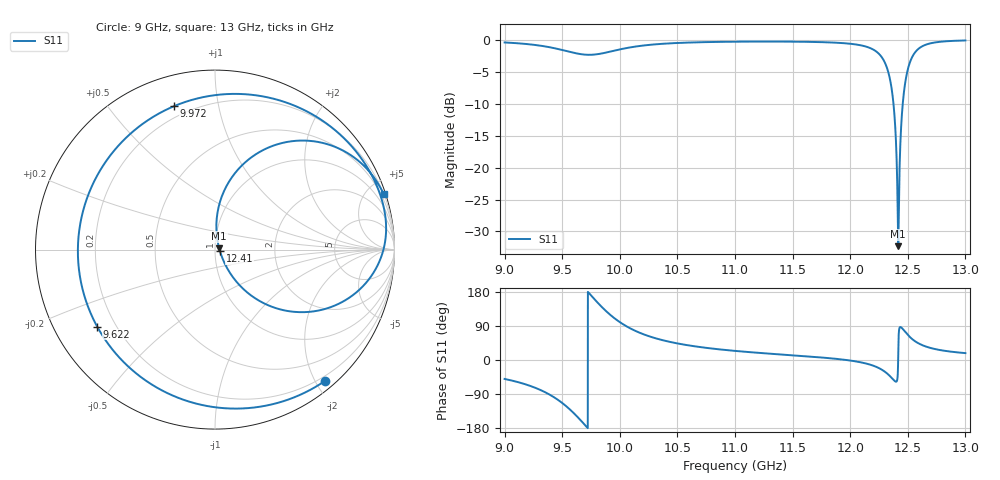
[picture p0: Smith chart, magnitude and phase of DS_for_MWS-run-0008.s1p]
! TOUCHSTONE file generated by CST DESIGN STUDIO
! Date and time: Tue Feb  4 18:29:46 2025
! Project name: C:\Work\MatlabApps\UnitCellOptimizationMatlab\CST\unitcell.cst
! Tree item: Tasks\Sweep1\SPara1\S-Parameters
! Header version: 2024
! Port assignment regex: !\s*Touchstone port\s*([0-9]+)\s*=\s*(CST MWS port|CST DES external port|CST DES block port)\s*(.+)\s* \(\"(.*)\"\)(\s*mode\s*([0-9]+))?.*
! Touchstone port assignment:
! Touchstone port 1 = CST DES external port 1 ("")
# GHz S MA R 50
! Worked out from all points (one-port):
!   4001 points, 9 GHz to 13 GHz, reference 50 ohm
!   lowest |S11| = -32.3 dB at 12.42 GHz (marker M1), VSWR 1.05, Z = 52.4 + j0.659 ohm
!   |S11| at or under -10 dB: 12.38 GHz to 12.46 GHz (80.6 MHz wide, 0.649 % of centre)
!   S11 on the Smith chart (normalised r, x): 9 GHz: 0.13, -2.14; 9.622 GHz: 0.13, -0.29; 9.972 GHz: 0.14, +0.74; 12.41 GHz: 1.06, -0.02; 13 GHz: 0.22, +6.24
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9  0.9544 -50.0
9.26  0.9132 -72.6
9.395  0.8741 -92.1
9.5  0.8332 -113.4
9.622  0.7843 -146.8
9.7  0.7658 -172.4
9.774  0.7664 162.4
9.875  0.7933 130.7
9.972  0.831 106.0
10  0.8418 100.0
10.227  0.9079 65.5
10.5  0.9453 43.7
11  0.9675 24.0
11.5  0.9682 12.4
12  0.9323 -1.4
12.2  0.8398 -15.0
12.317  0.6116 -34.7
12.372  0.34 -51.1
12.388  0.2299 -55.8
12.404  0.1085 -56.1
12.415  0.02927 -18.3
12.417  0.02425 15.0
12.43  0.1104 85.9
12.458  0.3293 81.3
12.5  0.5863 66.2
12.579  0.829 46.4
12.668  0.9242 34.4
13  0.9893 18.2
